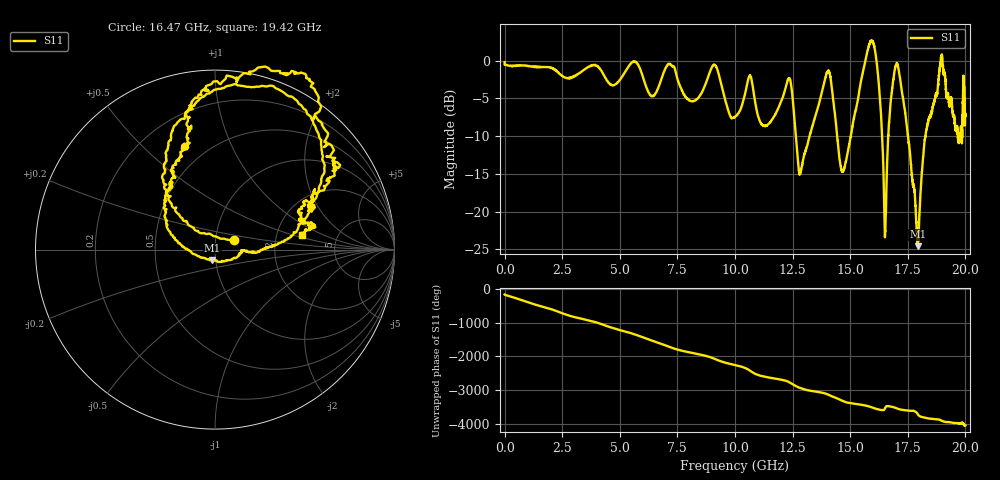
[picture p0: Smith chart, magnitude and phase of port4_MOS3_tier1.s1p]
! Created with skrf 1.8.0 (http://scikit-rf.org).
# GHz S RI R 50.0
!freq ReS11 ImS11
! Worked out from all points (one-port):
!   10001 points, 1 MHz to 20 GHz, reference 50 ohm
!   lowest |S11| = -24.6 dB at 17.94 GHz (marker M1), VSWR 1.13, Z = 48.2 - j5.54 ohm
!   |S11| at or under -10 dB: 12.64 GHz to 13.24 GHz (594.3 MHz wide, 4.59 % of centre); 14.44 GHz to 15.02 GHz (588.6 MHz wide, 4 % of centre); 17.51 GHz to 18.27 GHz (760 MHz wide, 4.25 % of centre) (the widest 3 of 17)
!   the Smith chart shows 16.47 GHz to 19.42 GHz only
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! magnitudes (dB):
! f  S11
! 1 MHz  -0.2
! 2.501 GHz  -2.0
! 5.001 GHz  -2.6
! 5.629 GHz  -0.1
! 6.379 GHz  -4.7
! 7.501 GHz  -2.4
! 8.215 GHz  -5.3
! 9.127 GHz  -0.6
! 10 GHz  -7.4
! 10.64 GHz  -2.0
! 11.23 GHz  -8.6
! 12.32 GHz  -2.4
! 12.5 GHz  -5.0
! 12.83 GHz  -14.9
! 14.02 GHz  -1.5
! 14.62 GHz  -14.5
! 15 GHz  -10.4
! 15.93 GHz  2.6
! 16.23 GHz  -2.6
! 16.51 GHz  -23.2
! 16.75 GHz  -5.8
! 16.98 GHz  -0.7
! 17.5 GHz  -9.9
! 17.94 GHz  -24.6
! 18.28 GHz  -9.8
! 18.93 GHz  0.1
! 19.67 GHz  -9.4
! 20 GHz  -7.3
